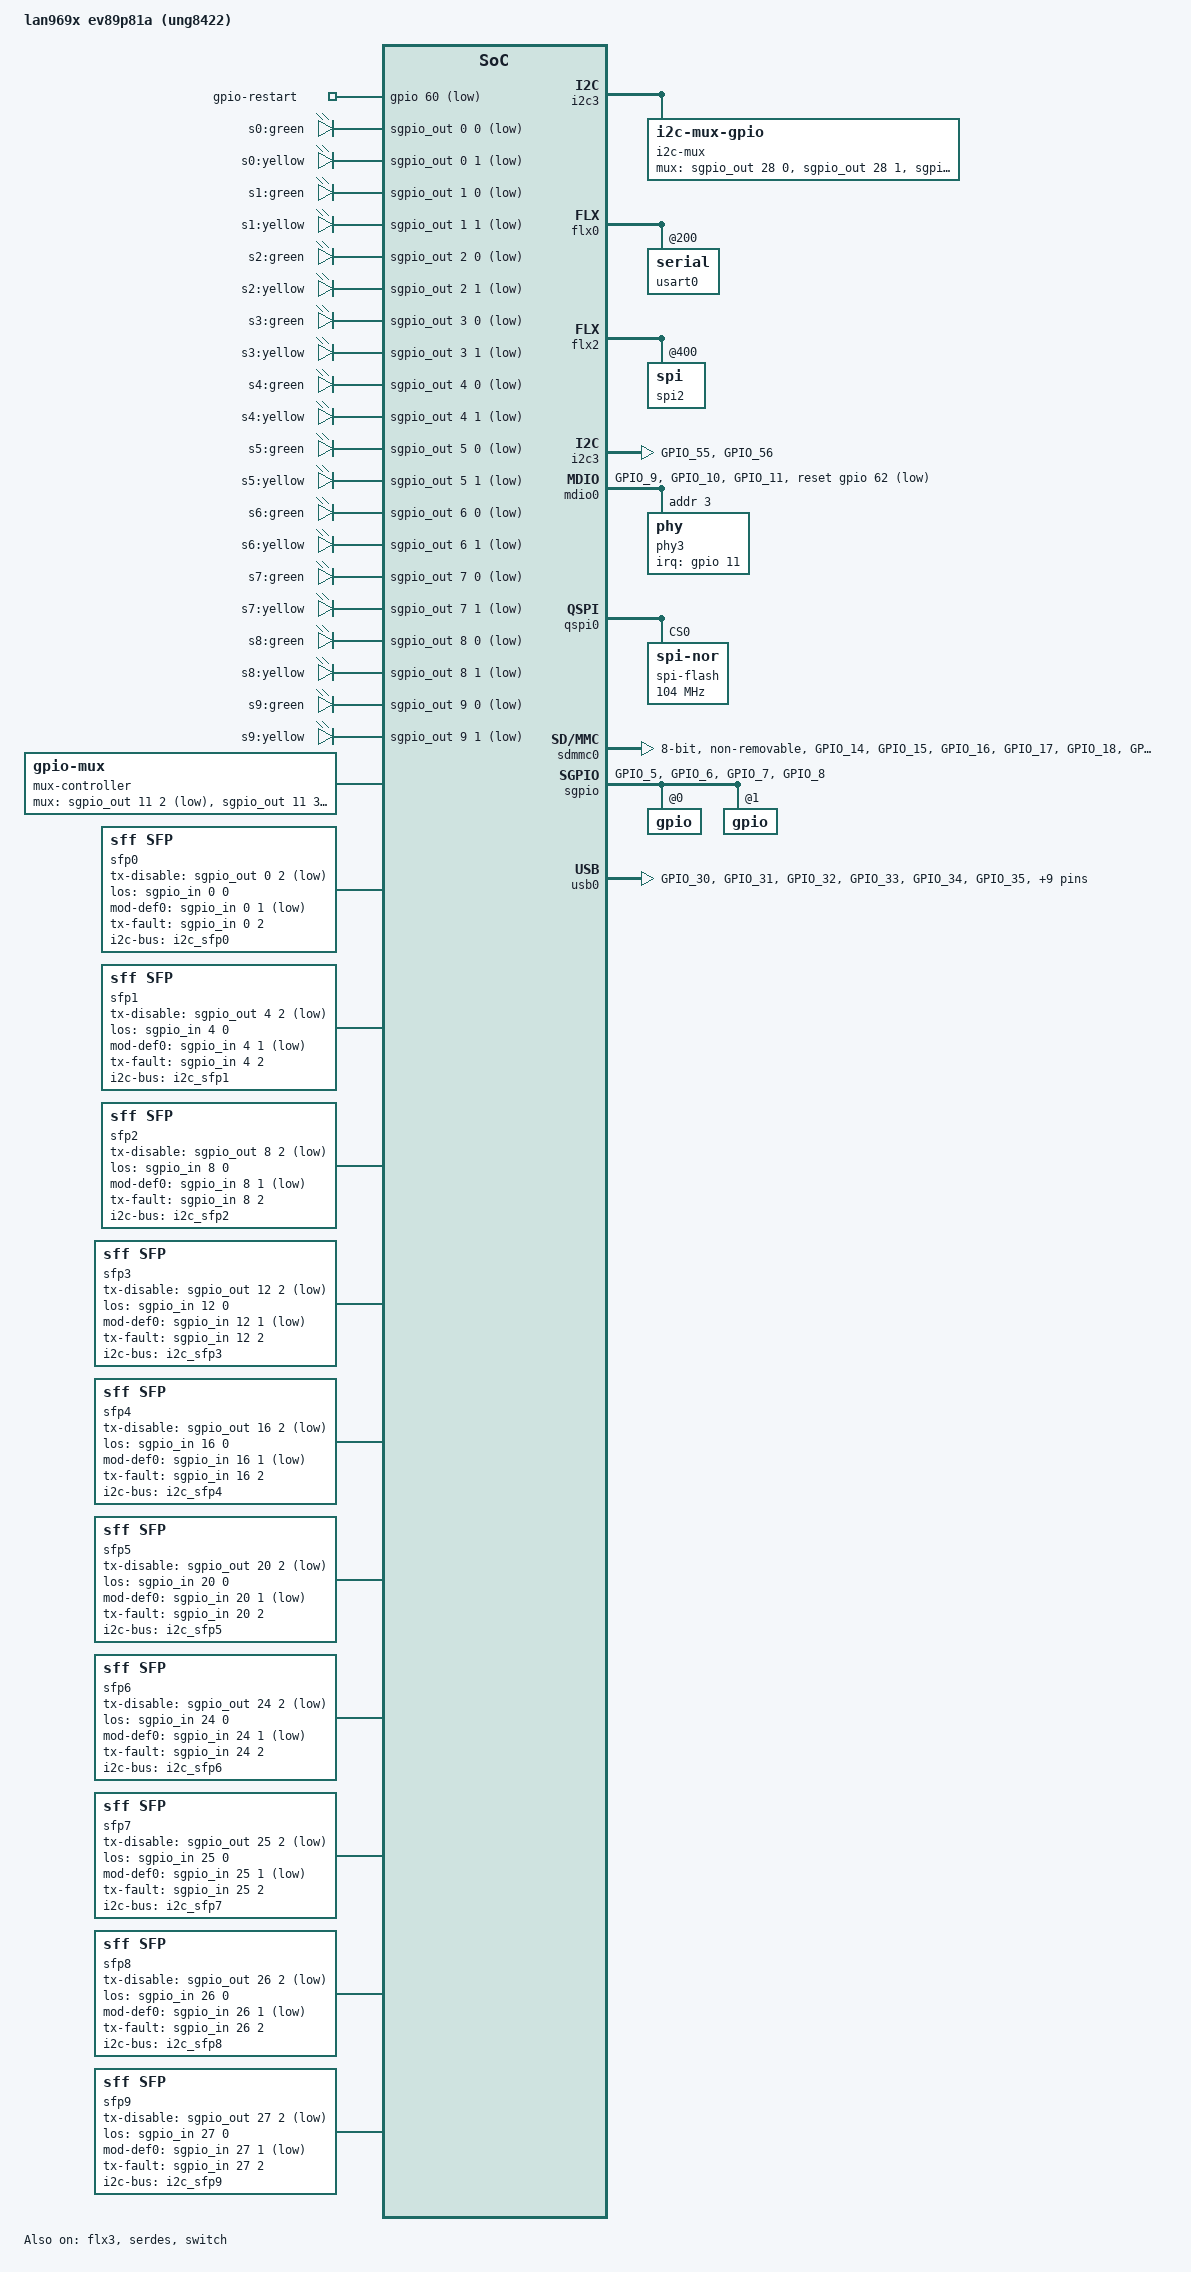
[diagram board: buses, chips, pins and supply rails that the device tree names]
// SPDX-License-Identifier: (GPL-2.0+ OR MIT)

/*
 * Copyright (c) 2022 Microchip Technology Inc. and its subsidiaries.
 */

/dts-v1/;

#include "lan969x.dtsi"

/ {
	model = "lan969x ev89p81a (ung8422)";
	aliases {
		serial0 = &usart0;
	};

	chosen {
		stdout-path = "serial0:115200n8";
	};

	gpio-restart {
		compatible = "gpio-restart";
		gpios = <&gpio 60 GPIO_ACTIVE_LOW>;
		open-source;
		priority = <200>;
	};

	i2c-mux {
		compatible = "i2c-mux-gpio";
		#address-cells = <1>;
		#size-cells = <0>;
		i2c-parent = <&i2c3>;

		select-delay = <100>; /* The signal needs to get stabilized */

		mux-gpios = <&sgpio_out 28 0 GPIO_ACTIVE_HIGH
			     &sgpio_out 28 1 GPIO_ACTIVE_HIGH
			     &sgpio_out 28 2 GPIO_ACTIVE_HIGH
			     &sgpio_out 28 3 GPIO_ACTIVE_HIGH>;
		idle-state = <0x10>;

		i2c_sfp0: i2c-sfp0 {
			reg = <0x0>;
		};

		i2c_sfp1: i2c-sfp1 {
			reg = <0x1>;
		};

		i2c_sfp2: i2c-sfp2 {
			reg = <0x2>;
		};

		i2c_sfp3: i2c-sfp3 {
			reg = <0x3>;
		};

		i2c_sfp4: i2c-sfp4 {
			reg = <0x4>;
		};

		i2c_sfp5: i2c-sfp5 {
			reg = <0x5>;
		};

		i2c_sfp6: i2c-sfp6 {
			reg = <0x6>;
		};

		i2c_sfp7: i2c-sfp7 {
			reg = <0x7>;
		};

		i2c_sfp8: i2c-sfp8 {
			reg = <0x8>;
		};

		i2c_sfp9: i2c-sfp9 {
			reg = <0x9>;
		};
	};

	leds {
		compatible = "gpio-leds";

		led-s0-green {
			label = "s0:green";
			gpios = <&sgpio_out 0 0 GPIO_ACTIVE_LOW>;
			default-state = "off";
		};

		led-s0-yellow {
			label = "s0:yellow";
			gpios = <&sgpio_out 0 1 GPIO_ACTIVE_LOW>;
			default-state = "off";
		};

		led-s1-green {
			label = "s1:green";
			gpios = <&sgpio_out 1 0 GPIO_ACTIVE_LOW>;
			default-state = "off";
		};

		led-s1-yellow {
			label = "s1:yellow";
			gpios = <&sgpio_out 1 1 GPIO_ACTIVE_LOW>;
			default-state = "off";
		};

		led-s2-green {
			label = "s2:green";
			gpios = <&sgpio_out 2 0 GPIO_ACTIVE_LOW>;
			default-state = "off";
		};

		led-s2-yellow {
			label = "s2:yellow";
			gpios = <&sgpio_out 2 1 GPIO_ACTIVE_LOW>;
			default-state = "off";
		};

		led-s3-green {
			label = "s3:green";
			gpios = <&sgpio_out 3 0 GPIO_ACTIVE_LOW>;
			default-state = "off";
		};

		led-s3-yellow {
			label = "s3:yellow";
			gpios = <&sgpio_out 3 1 GPIO_ACTIVE_LOW>;
			default-state = "off";
		};

		led-s4-green {
			label = "s4:green";
			gpios = <&sgpio_out 4 0 GPIO_ACTIVE_LOW>;
			default-state = "off";
		};

		led-s4-yellow {
			label = "s4:yellow";
			gpios = <&sgpio_out 4 1 GPIO_ACTIVE_LOW>;
			default-state = "off";
		};

		led-s5-green {
			label = "s5:green";
			gpios = <&sgpio_out 5 0 GPIO_ACTIVE_LOW>;
			default-state = "off";
		};

		led-s5-yellow {
			label = "s5:yellow";
			gpios = <&sgpio_out 5 1 GPIO_ACTIVE_LOW>;
			default-state = "off";
		};

		led-s6-green {
			label = "s6:green";
			gpios = <&sgpio_out 6 0 GPIO_ACTIVE_LOW>;
			default-state = "off";
		};

		led-s6-yellow {
			label = "s6:yellow";
			gpios = <&sgpio_out 6 1 GPIO_ACTIVE_LOW>;
			default-state = "off";
		};

		led-s7-green {
			label = "s7:green";
			gpios = <&sgpio_out 7 0 GPIO_ACTIVE_LOW>;
			default-state = "off";
		};

		led-s7-yellow {
			label = "s7:yellow";
			gpios = <&sgpio_out 7 1 GPIO_ACTIVE_LOW>;
			default-state = "off";
		};

		led-s8-green {
			label = "s8:green";
			gpios = <&sgpio_out 8 0 GPIO_ACTIVE_LOW>;
			default-state = "off";
		};

		led-s8-yellow {
			label = "s8:yellow";
			gpios = <&sgpio_out 8 1 GPIO_ACTIVE_LOW>;
			default-state = "off";
		};

		led-s9-green {
			label = "s9:green";
			gpios = <&sgpio_out 9 0 GPIO_ACTIVE_LOW>;
			default-state = "off";
		};

		led-s9-yellow {
			label = "s9:yellow";
			gpios = <&sgpio_out 9 1 GPIO_ACTIVE_LOW>;
			default-state = "off";
		};
	};

	mux-controller {
		compatible = "gpio-mux";
		#mux-control-cells = <0>;

		mux-gpios = <&sgpio_out 11 2 GPIO_ACTIVE_LOW>,
			    <&sgpio_out 11 3 GPIO_ACTIVE_LOW>;
	};

	sfp0: sfp0 {
		compatible = "sff,sfp";
		i2c-bus = <&i2c_sfp0>;
		tx-disable-gpios = <&sgpio_out 0 2 GPIO_ACTIVE_LOW>;
		los-gpios = <&sgpio_in 0 0 GPIO_ACTIVE_HIGH>;
		mod-def0-gpios = <&sgpio_in 0 1 GPIO_ACTIVE_LOW>;
		tx-fault-gpios = <&sgpio_in 0 2 GPIO_ACTIVE_HIGH>;
	};

	sfp1: sfp1 {
		compatible = "sff,sfp";
		i2c-bus = <&i2c_sfp1>;
		tx-disable-gpios = <&sgpio_out 4 2 GPIO_ACTIVE_LOW>;
		los-gpios = <&sgpio_in 4 0 GPIO_ACTIVE_HIGH>;
		mod-def0-gpios = <&sgpio_in 4 1 GPIO_ACTIVE_LOW>;
		tx-fault-gpios = <&sgpio_in 4 2 GPIO_ACTIVE_HIGH>;
	};

	sfp2: sfp2 {
		compatible = "sff,sfp";
		i2c-bus = <&i2c_sfp2>;
		tx-disable-gpios = <&sgpio_out 8 2 GPIO_ACTIVE_LOW>;
		los-gpios = <&sgpio_in 8 0 GPIO_ACTIVE_HIGH>;
		mod-def0-gpios = <&sgpio_in 8 1 GPIO_ACTIVE_LOW>;
		tx-fault-gpios = <&sgpio_in 8 2 GPIO_ACTIVE_HIGH>;
	};

	sfp3: sfp3 {
		compatible = "sff,sfp";
		i2c-bus = <&i2c_sfp3>;
		tx-disable-gpios = <&sgpio_out 12 2 GPIO_ACTIVE_LOW>;
		los-gpios = <&sgpio_in 12 0 GPIO_ACTIVE_HIGH>;
		mod-def0-gpios = <&sgpio_in 12 1 GPIO_ACTIVE_LOW>;
		tx-fault-gpios = <&sgpio_in 12 2 GPIO_ACTIVE_HIGH>;
	};

	sfp4: sfp4 {
		compatible = "sff,sfp";
		i2c-bus = <&i2c_sfp4>;
		tx-disable-gpios = <&sgpio_out 16 2 GPIO_ACTIVE_LOW>;
		los-gpios = <&sgpio_in 16 0 GPIO_ACTIVE_HIGH>;
		mod-def0-gpios = <&sgpio_in 16 1 GPIO_ACTIVE_LOW>;
		tx-fault-gpios = <&sgpio_in 16 2 GPIO_ACTIVE_HIGH>;
	};

	sfp5: sfp5 {
		compatible = "sff,sfp";
		i2c-bus = <&i2c_sfp5>;
		tx-disable-gpios = <&sgpio_out 20 2 GPIO_ACTIVE_LOW>;
		los-gpios = <&sgpio_in 20 0 GPIO_ACTIVE_HIGH>;
		mod-def0-gpios = <&sgpio_in 20 1 GPIO_ACTIVE_LOW>;
		tx-fault-gpios = <&sgpio_in 20 2 GPIO_ACTIVE_HIGH>;
	};

	sfp6: sfp6 {
		compatible = "sff,sfp";
		i2c-bus = <&i2c_sfp6>;
		tx-disable-gpios = <&sgpio_out 24 2 GPIO_ACTIVE_LOW>;
		los-gpios = <&sgpio_in 24 0 GPIO_ACTIVE_HIGH>;
		mod-def0-gpios = <&sgpio_in 24 1 GPIO_ACTIVE_LOW>;
		tx-fault-gpios = <&sgpio_in 24 2 GPIO_ACTIVE_HIGH>;
	};

	sfp7: sfp7 {
		compatible = "sff,sfp";
		i2c-bus = <&i2c_sfp7>;
		tx-disable-gpios = <&sgpio_out 25 2 GPIO_ACTIVE_LOW>;
		los-gpios = <&sgpio_in 25 0 GPIO_ACTIVE_HIGH>;
		mod-def0-gpios = <&sgpio_in 25 1 GPIO_ACTIVE_LOW>;
		tx-fault-gpios = <&sgpio_in 25 2 GPIO_ACTIVE_HIGH>;
	};

	sfp8: sfp8 {
		compatible = "sff,sfp";
		i2c-bus = <&i2c_sfp8>;
		tx-disable-gpios = <&sgpio_out 26 2 GPIO_ACTIVE_LOW>;
		los-gpios = <&sgpio_in 26 0 GPIO_ACTIVE_HIGH>;
		mod-def0-gpios = <&sgpio_in 26 1 GPIO_ACTIVE_LOW>;
		tx-fault-gpios = <&sgpio_in 26 2 GPIO_ACTIVE_HIGH>;
	};

	sfp9: sfp9 {
		compatible = "sff,sfp";
		i2c-bus = <&i2c_sfp9>;
		tx-disable-gpios = <&sgpio_out 27 2 GPIO_ACTIVE_LOW>;
		los-gpios = <&sgpio_in 27 0 GPIO_ACTIVE_HIGH>;
		mod-def0-gpios = <&sgpio_in 27 1 GPIO_ACTIVE_LOW>;
		tx-fault-gpios = <&sgpio_in 27 2 GPIO_ACTIVE_HIGH>;
	};
};

&flx0 {
	atmel,flexcom-mode = <ATMEL_FLEXCOM_MODE_USART>;
	status = "okay";

	usart0: serial@200 {
		pinctrl-0 = <&fc0_pins>;
		pinctrl-names = "default";
		status = "okay";
	};
};

&flx2 {
	atmel,flexcom-mode = <ATMEL_FLEXCOM_MODE_SPI>;
	status = "okay";

	spi2: spi@400 {
		pinctrl-0 = <&fc2_pins>;
		pinctrl-names = "default";
		cs-gpios = <&gpio 63 GPIO_ACTIVE_LOW>;
		status = "okay";
	};
};

&flx3 {
	atmel,flexcom-mode = <ATMEL_FLEXCOM_MODE_TWI>;
	status = "okay";

	i2c3: i2c@600 {
		pinctrl-0 = <&fc3_pins>;
		pinctrl-names = "default";
		i2c-analog-filter;
		i2c-digital-filter;
		i2c-digital-filter-width-ns = <35>;
		i2c-sda-hold-time-ns = <1500>;
		status = "okay";
	};
};

&gpio {
	emmc_sd_pins: emmc-sd-pins {
		/* eMMC_SD - CMD, CLK, D0, D1, D2, D3, D4, D5, D6, D7, RSTN */
		pins = "GPIO_14", "GPIO_15", "GPIO_16", "GPIO_17",
		       "GPIO_18", "GPIO_19", "GPIO_20", "GPIO_21",
		       "GPIO_22", "GPIO_23", "GPIO_24";
		function = "emmc_sd";
	};

	fan_pins: fan-pins {
		pins = "GPIO_25", "GPIO_26";
		function = "fan";
	};

	fc0_pins: fc0-pins {
		pins = "GPIO_3", "GPIO_4";
		function = "fc";
	};

	fc2_pins: fc2-pins {
		pins = "GPIO_64", "GPIO_65", "GPIO_66";
		function = "fc";
	};

	fc3_pins: fc3-pins {
		pins = "GPIO_55", "GPIO_56";
		function = "fc";
	};

	mdio_pins: mdio-pins {
		pins = "GPIO_9", "GPIO_10";
		function = "miim";
	};

	mdio_irq_pins: mdio-irq-pins {
		pins = "GPIO_11";
		function = "miim_irq";
	};

	sgpio_pins: sgpio-pins {
		/* SCK, D0, D1, LD */
		pins = "GPIO_5", "GPIO_6", "GPIO_7", "GPIO_8";
		function = "sgpio_a";
	};

	usb_ulpi_pins: usb-ulpi-pins {
		pins = "GPIO_30", "GPIO_31", "GPIO_32", "GPIO_33",
		"GPIO_34", "GPIO_35", "GPIO_36", "GPIO_37",
		"GPIO_38", "GPIO_39", "GPIO_40", "GPIO_41";
		function = "usb_ulpi";
	};

	usb_rst_pins: usb-rst-pins {
		pins = "GPIO_12";
		function = "usb2phy_rst";
	};

	usb_over_pins: usb-over-pins {
		pins = "GPIO_13";
		function = "usb_over_detect";
	};

	usb_power_pins: usb-power-pins {
		pins = "GPIO_1";
		function = "usb_power";
	};

	ptp_out_pins: ptp-out-pins {
		pins = "GPIO_58";
		function = "ptpsync_4";
	};

	ptp_ext_pins: ptp-ext-pins {
		pins = "GPIO_59";
		function = "ptpsync_5";
	};
};

&hwmon {
	pinctrl-0 = <&fan_pins>;
	pinctrl-names = "default";
};

&mdio0 {
	pinctrl-0 = <&mdio_pins>, <&mdio_irq_pins>;
	pinctrl-names = "default";
	reset-gpios = <&gpio 62 GPIO_ACTIVE_LOW>;
	status = "okay";

	phy3: phy@3 {
		reg = <3>;
		interrupts = <11 IRQ_TYPE_LEVEL_LOW>;
		interrupt-parent = <&gpio>;
	};
};

&qspi0 {
	status = "okay";

	spi-flash@0 {
		compatible = "jedec,spi-nor";
		reg = <0>;
		spi-max-frequency = <104000000>;
		#address-cells = <1>;
		#size-cells = <1>;
		spi-tx-bus-width = <1>;
		spi-rx-bus-width = <4>;
		m25p,fast-read;
	};
};

&serdes {
	status = "okay";
};

&sdmmc0 {
	pinctrl-0 = <&emmc_sd_pins>;
	pinctrl-names = "default";
	max-frequency = <100000000>;
	bus-width = <8>;
	mmc-ddr-1_8v;
	mmc-hs200-1_8v;
	non-removable;
	disable-wp;
	status = "okay";
};

&sgpio {
	pinctrl-0 = <&sgpio_pins>;
	pinctrl-names = "default";

	microchip,sgpio-port-ranges = <0 0>, <4 4>, <8 8>, <12 12>, <16 16>,
				      <20 20>, <24 29>;
	bus-frequency = <3000000>;
	status = "okay";

	gpio@0 {
		ngpios = <128>;
	};
	gpio@1 {
		ngpios = <128>;
	};
};

&switch {
	pinctrl-0 = <&ptp_out_pins>, <&ptp_ext_pins>;
	pinctrl-names = "default";

	status = "okay";
	ethernet-ports {
		#address-cells = <1>;
		#size-cells = <0>;

		port0: port@0 {
			reg = <0>;
			microchip,bandwidth = <10000>;
			phys = <&serdes 0>;
			phy-mode = "10gbase-r";
			sfp = <&sfp0>;
			managed = "in-band-status";
		};

		port4: port@4 {
			reg = <4>;
			microchip,bandwidth = <10000>;
			phys = <&serdes 1>;
			phy-mode = "10gbase-r";
			sfp = <&sfp1>;
			managed = "in-band-status";
		};

		port8: port@8 {
			reg = <8>;
			microchip,bandwidth = <10000>;
			phys = <&serdes 2>;
			phy-mode = "10gbase-r";
			sfp = <&sfp2>;
			managed = "in-band-status";
		};

		port12: port@12 {
			reg = <12>;
			microchip,bandwidth = <10000>;
			phys = <&serdes 3>;
			phy-mode = "10gbase-r";
			sfp = <&sfp3>;
			managed = "in-band-status";
		};

		port16: port@16 {
			reg = <16>;
			microchip,bandwidth = <10000>;
			phys = <&serdes 4>;
			phy-mode = "10gbase-r";
			sfp = <&sfp4>;
			managed = "in-band-status";
		};

		port20: port@20 {
			reg = <20>;
			microchip,bandwidth = <10000>;
			phys = <&serdes 5>;
			phy-mode = "10gbase-r";
			sfp = <&sfp5>;
			managed = "in-band-status";
		};

		port24: port@24 {
			reg = <24>;
			microchip,bandwidth = <10000>;
			phys = <&serdes 6>;
			phy-mode = "10gbase-r";
			sfp = <&sfp6>;
			managed = "in-band-status";
		};

		port25: port@25 {
			reg = <25>;
			microchip,bandwidth = <10000>;
			phys = <&serdes 7>;
			phy-mode = "10gbase-r";
			sfp = <&sfp7>;
			managed = "in-band-status";
		};

		port26: port@26 {
			reg = <26>;
			microchip,bandwidth = <10000>;
			phys = <&serdes 8>;
			phy-mode = "10gbase-r";
			sfp = <&sfp8>;
			managed = "in-band-status";
		};

		port27: port@27 {
			reg = <27>;
			microchip,bandwidth = <10000>;
			phys = <&serdes 9>;
			phy-mode = "10gbase-r";
			sfp = <&sfp9>;
			managed = "in-band-status";
		};

		port29: port@29 {
			reg = <29>;
			microchip,bandwidth = <1000>;
			phy-handle = <&phy3>;
			phy-mode = "rgmii";
		};
	};
};

&usb0 {
	status = "okay";
	pinctrl-0 = <&usb_ulpi_pins>, <&usb_rst_pins>, <&usb_over_pins>, <&usb_power_pins>;
	pinctrl-names = "default";
};
